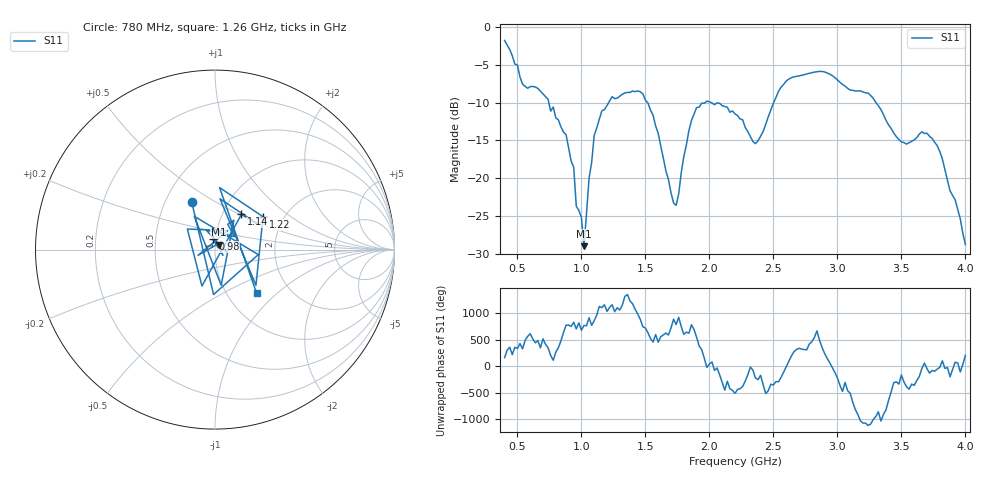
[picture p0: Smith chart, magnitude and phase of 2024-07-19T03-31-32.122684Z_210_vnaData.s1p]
!Created with skrf (http://scikit-rf.org).
# Hz S RI R 50.0
!freq ReS11 ImS11
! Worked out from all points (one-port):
!   181 points, 400 MHz to 4 GHz, reference 50 ohm
!   lowest |S11| = -29.0 dB at 1.02 GHz (marker M1), VSWR 1.07, Z = 52.2 + j2.9 ohm
!   |S11| at or under -10 dB: 745.5 MHz to 1.213 GHz (467.1 MHz wide, 47.7 % of centre); 2.015 GHz to 2.502 GHz (486.6 MHz wide, 21.5 % of centre); 3.302 GHz to end of sweep (the widest 3 of 4)
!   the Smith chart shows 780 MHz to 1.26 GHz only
!   S11 on the Smith chart (normalised r, x): 780 MHz: 0.68, +0.39; 980 MHz: 0.97, +0.12; 1.14 GHz: 1.23, +0.51; 1.22 GHz: 1.57, +0.64; 1.26 GHz: 1.37, -0.75
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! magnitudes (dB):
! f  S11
! 400 MHz  -1.8
! 540 MHz  -7.5
! 780 MHz  -10.6
! 860 MHz  -13.9
! 940 MHz  -18.6
! 960 MHz  -23.7
! 980 MHz  -24.3
! 1.02 GHz  -29.0
! 1.06 GHz  -20.0
! 1.1 GHz  -14.3
! 1.14 GHz  -12.2
! 1.22 GHz  -9.8
! 1.26 GHz  -9.5
! 1.3 GHz  -9.1
! 1.48 GHz  -8.8
! 1.6 GHz  -14.1
! 1.72 GHz  -23.3
! 1.76 GHz  -22.1
! 1.84 GHz  -13.7
! 1.9 GHz  -10.7
! 2.2 GHz  -11.5
! 2.36 GHz  -15.4
! 2.66 GHz  -6.6
! 3.1 GHz  -8.3
! 3.24 GHz  -8.7
! 3.56 GHz  -15.3
! 3.78 GHz  -15.7
! 4 GHz  -28.8
